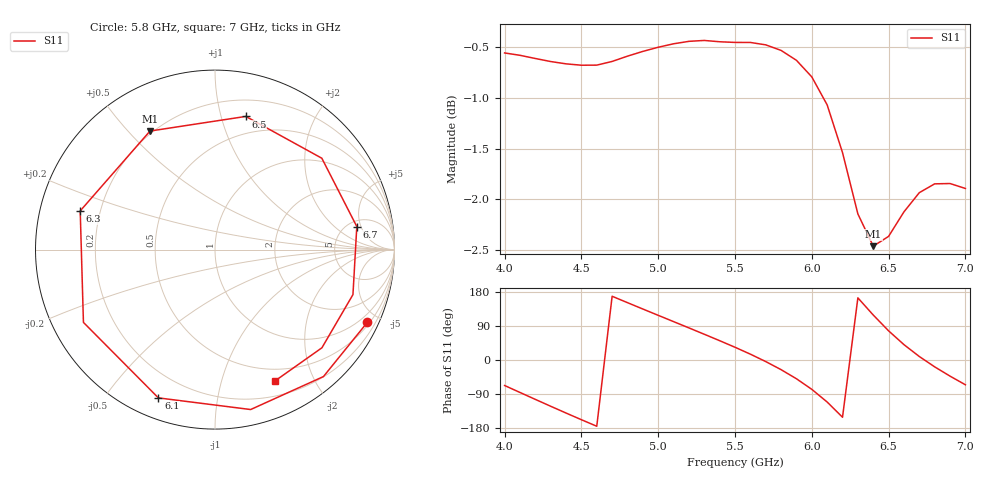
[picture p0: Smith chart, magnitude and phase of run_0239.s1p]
! Touchstone file exported from HFSS 2024.2.0
!  File:  C:/Users/wsak9/Desktop/Sim Fast/Widenad Patch/WP_AI_V1_sweep.aedt
!  Generated:  01:00:51 AM Oct 14, 2026
!  Design:  A1_model
!  Project:  WP_AI_V1_sweep
!  Setup:  Setup1
!  Solution:  Sweep
! Variables:
!  Air_gap = 3.94mm
!  Curve_Amp1 = 1.49
!  Curve_len1 = 1
!  Curve_pos = 9.615mm
!  Extra = 4.46mm
!  H_sub = 0.79mm
!  L_Patch = 15.23mm
!  L_Patch1 = 20.32mm
!  Sx = 4.06mm
!  Sy = 1.76mm
!  WS = 1.36mm
!  W_Patch = 11.51mm
!  W_Patch1 = 15.86mm
!Data is not renormalized
# GHz S MA
! Terminal data exported
! Port[1] = 1
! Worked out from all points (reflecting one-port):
!   31 points, 4 GHz to 7 GHz, reference per port
!   lowest |S11| = -2.5 dB at 6.4 GHz (marker M1), VSWR 7.10
!   phase of S11 starts at -67 deg and turns -718 deg over the sweep
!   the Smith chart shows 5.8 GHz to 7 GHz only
!   S11 on the Smith chart (normalised r, x): 5.8 GHz: 0.62, -4.34; 6.1 GHz: 0.09, -0.68; 6.3 GHz: 0.13, +0.14; 6.5 GHz: 0.34, +1.20; 6.7 GHz: 5.94, +4.24; 7 GHz: 0.36, -1.50
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4  0.9381 -67.3
4.1  0.9356 -85.7
4.2  0.9322 -103.9
4.4  0.9266 -140.0
4.5  0.9251 -157.6
4.6  0.9252 -174.8
4.7  0.9291 168.2
4.8  0.9347 151.3
5  0.9442 117.9
5.1  0.9479 101.3
5.2  0.9506 84.7
5.3  0.9515 67.9
5.5  0.9494 33.6
5.6  0.9493 15.4
5.7  0.9468 -4.1
5.8  0.9408 -25.5
5.9  0.9303 -49.5
6  0.9129 -77.4
6.1  0.8844 -110.9
6.2  0.8377 -151.0
6.3  0.7813 164.0
6.4  0.7532 118.7
6.5  0.7617 77.0
6.6  0.7832 40.5
6.7  0.8004 9.2
6.8  0.8085 -18.1
6.9  0.8088 -42.6
7  0.8043 -65.3
